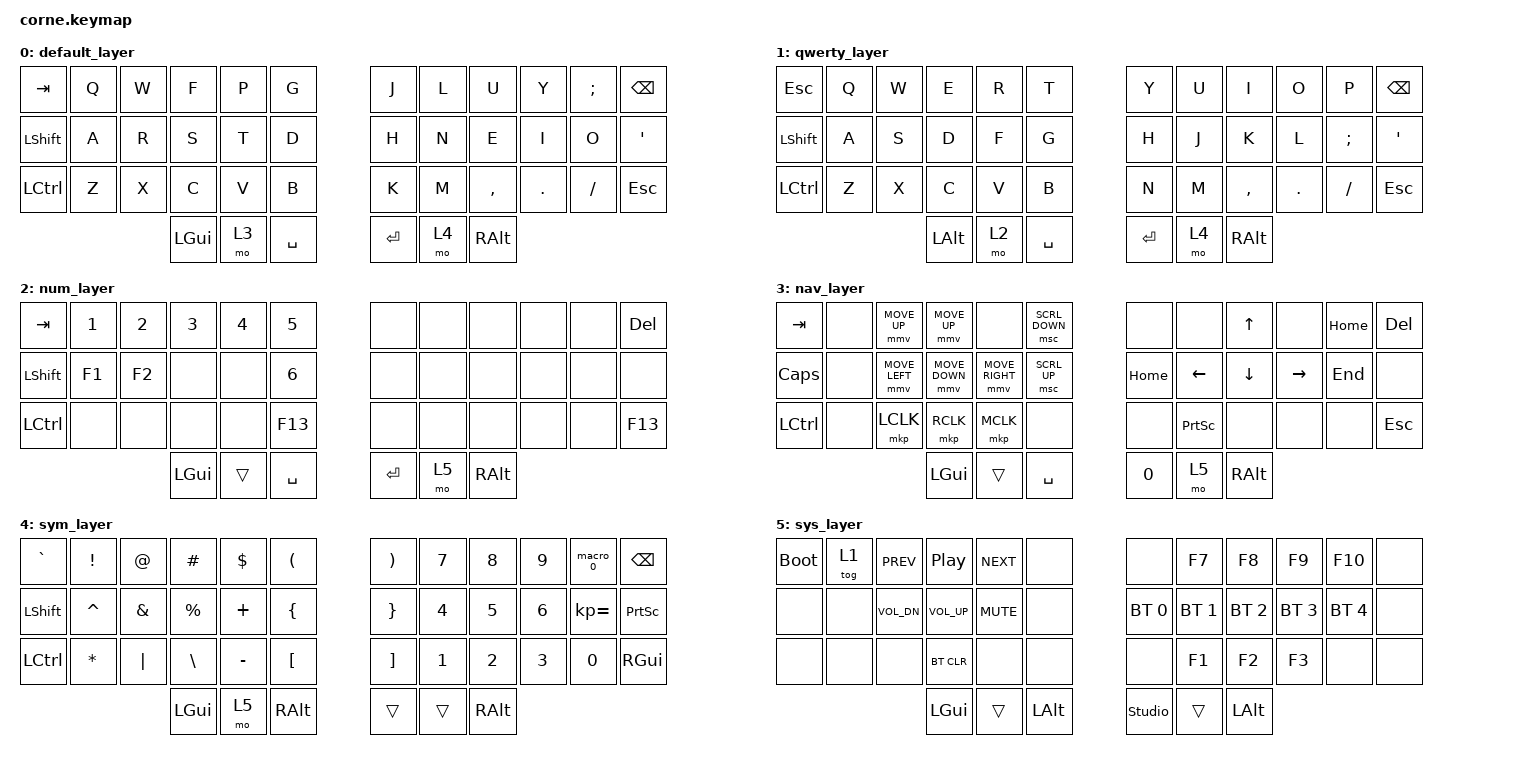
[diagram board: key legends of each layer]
/*
 * Copyright (c) 2020 The ZMK Contributors
 *
 * SPDX-License-Identifier: MIT
 */

#include <behaviors.dtsi>
#include <dt-bindings/zmk/keys.h>
#include <dt-bindings/zmk/bt.h>
#include <dt-bindings/zmk/mouse.h>

/ {
    macros {
        // LSFT+RALT+; → LSFT+RALT+N → RALT+,
        macro_0: macro_0 {
            compatible = "zmk,behavior-macro";
            #binding-cells = <0>;
            bindings
                = <&macro_press &kp LSHFT>
                , <&macro_press &kp RALT>
                , <&macro_tap &kp SEMI>
                , <&macro_release &kp RALT>
                , <&macro_release &kp LSHFT>
                , <&macro_press &kp LSHFT>
                , <&macro_press &kp RALT>
                , <&macro_tap &kp N>
                , <&macro_release &kp RALT>
                , <&macro_release &kp LSHFT>
                , <&macro_press &kp RALT>
                , <&macro_tap &kp COMMA>
                , <&macro_release &kp RALT>;
        };
    };

    keymap {
        compatible = "zmk,keymap";

        // Layer 0 — Colemak-DH
        default_layer {
// -----------------------------------------------------------------------------------------
// |  TAB |  Q  |  W  |  F  |  P  |  G  |   |  J  |  L  |  U  |  Y  |  ;  | BSPC |
// | LSFT |  A  |  R  |  S  |  T  |  D  |   |  H  |  N  |  E  |  I  |  O  |  '   |
// | LCTL |  Z  |  X  |  C  |  V  |  B  |   |  K  |  M  |  ,  |  .  |  /  | ESC  |
//                    | GUI | NAV | SPC |   | ENT | SYM | RALT |
            bindings = <
   &kp TAB   &kp Q &kp W &kp F &kp P &kp G   &kp J &kp L  &kp U     &kp Y   &kp SEMI &kp BSPC
   &kp LSHFT &kp A &kp R &kp S &kp T &kp D   &kp H &kp N  &kp E     &kp I   &kp O    &kp SQT
   &kp LCTRL &kp Z &kp X &kp C &kp V &kp B   &kp K &kp M  &kp COMMA &kp DOT &kp FSLH &kp ESC
                  &kp LGUI &mo 3 &kp SPACE    &kp RET &mo 4 &kp RALT
            >;
        };

        // Layer 1 — QWERTY (toggle con TG(1) desde SYS)
        qwerty_layer {
// -----------------------------------------------------------------------------------------
// | ESC  |  Q  |  W  |  E  |  R  |  T  |   |  Y  |  U  |  I  |  O  |  P  | BSPC |
// | LSFT |  A  |  S  |  D  |  F  |  G  |   |  H  |  J  |  K  |  L  |  ;  |  '   |
// | LCTL |  Z  |  X  |  C  |  V  |  B  |   |  N  |  M  |  ,  |  .  |  /  | ESC  |
//                    | LALT| NUM | SPC |   | ENT | SYM | RALT |
            bindings = <
   &kp ESC   &kp Q &kp W &kp E &kp R &kp T   &kp Y &kp U  &kp I     &kp O   &kp P    &kp BSPC
   &kp LSHFT &kp A &kp S &kp D &kp F &kp G   &kp H &kp J  &kp K     &kp L   &kp SEMI &kp SQT
   &kp LCTRL &kp Z &kp X &kp C &kp V &kp B   &kp N &kp M  &kp COMMA &kp DOT &kp FSLH &kp ESC
                  &kp LALT &mo 2 &kp SPACE    &kp RET &mo 4 &kp RALT
            >;
        };

        // Layer 2 — Números (desde QWERTY)
        num_layer {
// -----------------------------------------------------------------------------------------
// |  TAB |  1  |  2  |  3  |  4  |  5  |   |     |     |     |     |     | DEL  |
// | LSFT | F1  | F2  |     |     |  6  |   |     |     |     |     |     |      |
// | LCTL |     |     |     |     | F13 |   |     |     |     |     |     | F13  |
//                    | GUI |     | SPC |   | ENT | SYS | RALT |
            bindings = <
   &kp TAB   &kp N1 &kp N2 &kp N3 &kp N4 &kp N5   &none  &none &none &none &none &kp DEL
   &kp LSHFT &kp F1 &kp F2 &none  &none  &kp N6   &none  &none &none &none &none &none
   &kp LCTRL &none  &none  &none  &none  &kp F13  &none  &none &none &none &none &kp F13
                    &kp LGUI &trans &kp SPACE       &kp RET &mo 5 &kp RALT
            >;
        };

        // Layer 3 — Navegación / Ratón (desde Colemak)
        nav_layer {
// -----------------------------------------------------------------------------------------
// |  TAB |     | M↑  | M↑  |     | WD↓ |   |     |     |  ↑  |     | HOM | DEL  |
// | CAPS |     | M←  | M↓  | M→  | WD↑ |   | HOM |  ←  |  ↓  |  →  | END |      |
// | LCTL |     | CLK | RCK | MCK |     |   |     | PSC |     |     |     | ESC  |
//                    | GUI |     | SPC |   |  0  | SYS | RALT |
            bindings = <
   &kp TAB   &none &mmv MOVE_UP   &mmv MOVE_UP   &none          &msc SCRL_DOWN   &none    &none     &kp UP   &none      &kp HOME &kp DEL
   &kp CAPS  &none &mmv MOVE_LEFT &mmv MOVE_DOWN &mmv MOVE_RIGHT &msc SCRL_UP    &kp HOME &kp LEFT  &kp DOWN &kp RIGHT  &kp END  &none
   &kp LCTRL &none &mkp LCLK      &mkp RCLK      &mkp MCLK      &none            &none    &kp PSCRN &none    &none      &none    &kp ESC
                                  &kp LGUI &trans &kp SPACE       &kp N0 &mo 5 &kp RALT
            >;
        };

        // Layer 4 — Símbolos (desde Colemak y QWERTY)
        sym_layer {
// -----------------------------------------------------------------------------------------
// |  `   |  !  |  @  |  #  |  $  |  (  |   |  )  |  7  |  8  |  9  | MCR | BSPC |
// | LSFT |  ^  |  &  |  %  |  +  |  {  |   |  }  |  4  |  5  |  6  | K=  | PSCR |
// | LCTL |  *  |  |  |  \  |  -  |  [  |   |  ]  |  1  |  2  |  3  |  0  | RGUI |
//                    | GUI | SYS |RALT |   |     |     | RALT |
            bindings = <
   &kp GRAVE  &kp EXCL  &kp AT   &kp HASH  &kp DLLR  &kp LPAR    &kp RPAR  &kp N7 &kp N8 &kp N9 &macro_0     &kp BSPC
   &kp LSHFT  &kp CARET &kp AMPS &kp PRCNT &kp PLUS  &kp LBRC    &kp RBRC  &kp N4 &kp N5 &kp N6 &kp KP_EQUAL &kp PSCRN
   &kp LCTRL  &kp ASTRK &kp PIPE &kp BSLH  &kp MINUS &kp LBKT    &kp RBKT  &kp N1 &kp N2 &kp N3 &kp N0       &kp RGUI
                                  &kp LGUI &mo 5 &kp RALT          &trans    &trans &kp RALT
            >;
        };

        // Layer 5 — Sistema: BT, RGB, multimedia, funciones (desde NUM, NAV y SYM)
        sys_layer {
// -----------------------------------------------------------------------------------------
// | BOOT | TG1 | PRV | PLY | NXT |     |   |     |  F7 |  F8 |  F9 | F10 |      |
// |      |     | VD  | VU  | MUT |     |   | BT0 | BT1 | BT2 | BT3 | BT4 |      |
// |      |     |     |BCLR |     |     |   |     |  F1 |  F2 |  F3 |     |      |
//                    | GUI |     | LALT|   | STU |     | LALT |
            bindings = <
   &bootloader     &tog 1          &kp C_PREV      &kp C_PP        &kp C_NEXT          &none   &none          &kp F7       &kp F8       &kp F9       &kp F10      &none
   &none           &none           &kp C_VOL_DN    &kp C_VOL_UP    &kp C_MUTE          &none   &bt BT_SEL 0   &bt BT_SEL 1 &bt BT_SEL 2 &bt BT_SEL 3 &bt BT_SEL 4 &none
   &none           &none           &none           &bt BT_CLR      &none               &none   &none          &kp F1       &kp F2       &kp F3       &none        &none
                                   &kp LGUI &trans &kp LALT                             &studio_unlock &trans &kp LALT
            >;
        };
    };
};

#ifdef CONFIG_SHIELD_CORNE_RIGHT
&kscan0 {
    row-gpios
        = <&pro_micro 4 (GPIO_ACTIVE_HIGH | GPIO_PULL_DOWN)>
        , <&pro_micro 5 (GPIO_ACTIVE_HIGH | GPIO_PULL_DOWN)>
        , <&pro_micro 6 (GPIO_ACTIVE_HIGH | GPIO_PULL_DOWN)>
        , <&pro_micro 9 (GPIO_ACTIVE_HIGH | GPIO_PULL_DOWN)>
        ;
};
#endif
